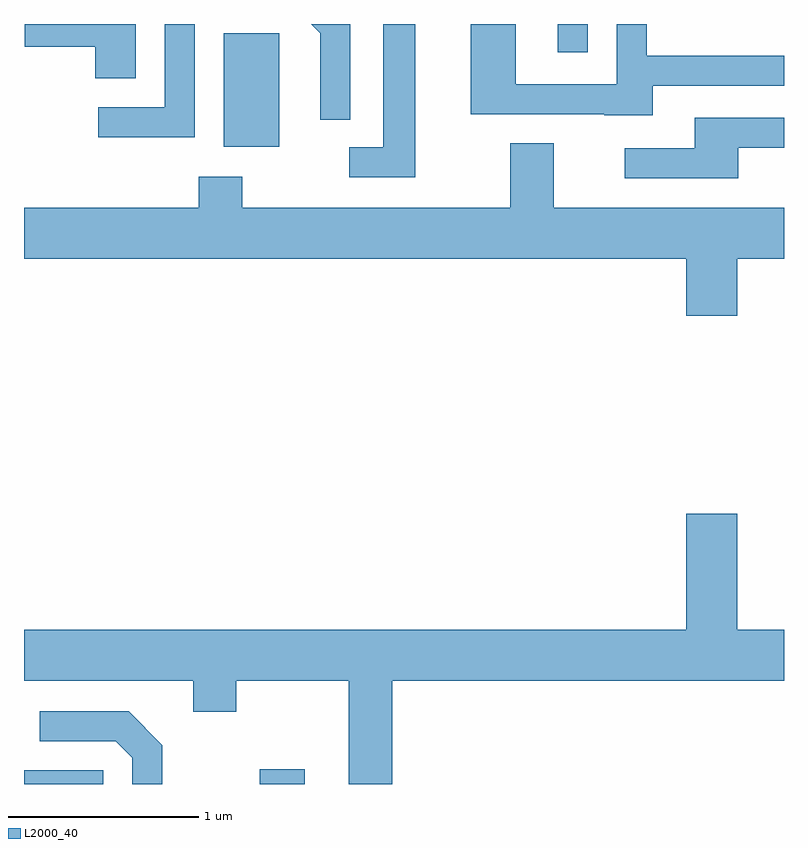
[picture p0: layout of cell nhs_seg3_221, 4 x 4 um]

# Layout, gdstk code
import gdstk
lib = gdstk.Library(unit=1e-6, precision=1e-09)
def R(c, l, rs):  # rectangles x0, y0, x1, y1
    for r in rs: c.add(gdstk.rectangle(r[:2], r[2:], *l))
def P(c, l, *ps):  # polygons
    for p in ps: c.add(gdstk.Polygon(p, *l))
L2000_40 = (2000, 40)

nhs_seg3_221 = lib.new_cell('nhs_seg3_221')
R(nhs_seg3_221, L2000_40, [(191.611,1149.892,192.029,1149.964), (192.853,1149.892,193.089,1149.969), (192.661,1153.246,192.954,1153.844), (194.421,1153.743,194.579,1153.892), (195.041,1153.891,195.611,1153.892)])
P(nhs_seg3_221, L2000_40, [(192.199,1153.892),(191.616,1153.892),(191.616,1153.771),(191.986,1153.771),(191.986,1153.606),(192.199,1153.606)],
  [(192.509,1153.892),(192.351,1153.892),(192.351,1153.454),(192.003,1153.454),(192.003,1153.296),(192.509,1153.296)],
  [(193.329,1153.892),(193.123,1153.892),(193.171,1153.844),(193.171,1153.388),(193.329,1153.388)],
  [(194.919,1153.566),(195.611,1153.566),(195.611,1153.724),(194.889,1153.724),(194.889,1153.892),(194.731,1153.892),(194.731,1153.574),(194.199,1153.574),(194.199,1153.892),(193.961,1153.892),(193.961,1153.416),(194.665,1153.416),(194.665,1153.411),(194.919,1153.411)],
  [(193.669,1153.892),(193.501,1153.892),(193.501,1153.244),(193.323,1153.244),(193.323,1153.086),(193.669,1153.086)],
  [(195.369,1153.241),(195.611,1153.241),(195.611,1153.399),(195.141,1153.399),(195.141,1153.239),(194.773,1153.239),(194.773,1153.081),(195.369,1153.081)],
  [(195.364,1152.656),(195.611,1152.656),(195.611,1152.924),(194.399,1152.924),(194.399,1153.264),(194.171,1153.264),(194.171,1152.924),(192.759,1152.924),(192.759,1153.089),(192.531,1153.089),(192.531,1152.924),(191.611,1152.924),(191.611,1152.656),(195.096,1152.656),(195.096,1152.356),(195.364,1152.356)],
  [(193.549,1150.436),(195.611,1150.436),(195.611,1150.704),(195.364,1150.704),(195.364,1151.314),(195.096,1151.314),(195.096,1150.704),(191.611,1150.704),(191.611,1150.436),(192.501,1150.436),(192.501,1150.271),(192.729,1150.271),(192.729,1150.436),(193.321,1150.436),(193.321,1149.892),(193.549,1149.892)],
  [(192.339,1150.097),(192.162,1150.274),(191.693,1150.274),(191.693,1150.116),(192.094,1150.116),(192.181,1150.029),(192.181,1149.892),(192.339,1149.892)])

lib.write_gds('nhs_seg3_221.gds')
